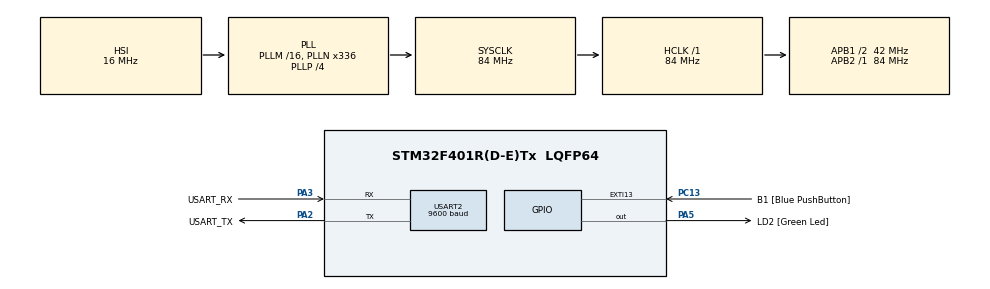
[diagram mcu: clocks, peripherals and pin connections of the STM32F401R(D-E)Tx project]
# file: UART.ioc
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Mcu.Family=STM32F4
Mcu.Name=STM32F401R(D-E)Tx
Mcu.Package=LQFP64
NVIC.PriorityGroup=NVIC_PRIORITYGROUP_4
NVIC.USART2_IRQn=true\:0\:0\:false\:false\:true\:true\:true\:true
PA13.GPIO_Label=TMS
PA13.Mode=Trace_Asynchronous_SW
PA13.Signal=SYS_JTMS-SWDIO
PA14.GPIO_Label=TCK
PA14.Mode=Trace_Asynchronous_SW
PA14.Signal=SYS_JTCK-SWCLK
PA2.GPIO_Label=USART_TX
PA2.GPIO_Mode=GPIO_MODE_AF_PP
PA2.GPIO_PuPd=GPIO_NOPULL
PA2.GPIO_Speed=GPIO_SPEED_FREQ_LOW
PA2.Mode=Asynchronous
PA2.Signal=USART2_TX
PA3.GPIO_Label=USART_RX
PA3.GPIO_Mode=GPIO_MODE_AF_PP
PA3.GPIO_PuPd=GPIO_NOPULL
PA3.GPIO_Speed=GPIO_SPEED_FREQ_LOW
PA3.Mode=Asynchronous
PA3.Signal=USART2_RX
PA5.GPIO_Label=LD2 [Green Led]
PA5.GPIO_Mode=GPIO_MODE_OUTPUT_PP
PA5.GPIO_PuPd=GPIO_NOPULL
PA5.GPIO_Speed=GPIO_SPEED_FREQ_LOW
PA5.Signal=GPIO_Output
PB3.GPIO_Label=SWO
PB3.Mode=Trace_Asynchronous_SW
PB3.Signal=SYS_JTDO-SWO
PC13-ANTI_TAMP.GPIO_Label=B1 [Blue PushButton]
PC13-ANTI_TAMP.GPIO_ModeDefaultEXTI=GPIO_MODE_IT_FALLING
PC13-ANTI_TAMP.GPIO_PuPd=GPIO_NOPULL
PC13-ANTI_TAMP.Signal=GPXTI13
PC14-OSC32_IN.Mode=LSE-External-Oscillator
PC14-OSC32_IN.Signal=RCC_OSC32_IN
PC15-OSC32_OUT.Mode=LSE-External-Oscillator
PC15-OSC32_OUT.Signal=RCC_OSC32_OUT
PH0\ -\ OSC_IN.Mode=HSE-External-Clock-Source
PH0\ -\ OSC_IN.Signal=RCC_OSC_IN
PH1\ -\ OSC_OUT.Mode=HSE-External-Clock-Source
PH1\ -\ OSC_OUT.Signal=RCC_OSC_OUT
ProjectManager.HeapSize=0x200
ProjectManager.StackSize=0x400
ProjectManager.TargetToolchain=STM32CubeIDE
RCC.48MHZClocksFreq_Value=48000000
RCC.AHBFreq_Value=84000000
RCC.APB1CLKDivider=RCC_HCLK_DIV2
RCC.APB1Freq_Value=42000000
RCC.APB1TimFreq_Value=84000000
RCC.APB2Freq_Value=84000000
RCC.APB2TimFreq_Value=84000000
RCC.CortexFreq_Value=84000000
RCC.HCLKFreq_Value=84000000
RCC.HSE_VALUE=8000000
RCC.HSI_VALUE=16000000
RCC.PLLN=336
RCC.PLLP=RCC_PLLP_DIV4
RCC.PLLQ=7
RCC.SYSCLKFreq_VALUE=84000000
RCC.SYSCLKSource=RCC_SYSCLKSOURCE_PLLCLK
RCC.VCOOutputFreq_Value=336000000
USART2.BaudRate=9600
USART2.VirtualMode=VM_ASYNC
board=NUCLEO-F401RE

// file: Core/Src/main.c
/* USER CODE BEGIN Header */
/**
  ******************************************************************************
  * @file           : main.c
  * @brief          : Main program body
  ******************************************************************************
  * @attention
  *
  * Copyright (c) 2026 STMicroelectronics.
  * All rights reserved.
  *
  * This software is licensed under terms that can be found in the LICENSE file
  * in the root directory of this software component.
  * If no LICENSE file comes with this software, it is provided AS-IS.
  *
  ******************************************************************************
  */
/* USER CODE END Header */
#include "main.h"
#include <string.h>

UART_HandleTypeDef huart2;

/* USER CODE BEGIN PV */
uint8_t tx_buffer[27]="Bem vindo MoobTech\n\r";
uint8_t rx_indx;
uint8_t rx_data[2];
uint8_t rx_buffer[100];
uint8_t transfer_cplt;
/* USER CODE END PV */

void SystemClock_Config(void);
static void MX_GPIO_Init(void);
static void MX_USART2_UART_Init(void);

int main(void)
{

  /* MCU Configuration--------------------------------------------------------*/

  /* Reset of all peripherals, Initializes the Flash interface and the Systick. */
  HAL_Init();

  /* Configure the system clock */
  SystemClock_Config();

  /* Initialize all configured peripherals */
  MX_GPIO_Init();
  MX_USART2_UART_Init();
  /* USER CODE BEGIN 2 */
  HAL_UART_Receive_IT(&huart2, rx_data, 1);
  /* USER CODE END 2 */

  /* Infinite loop */
  while (1)
  {

    /* USER CODE BEGIN 3 */

	  //&huart2= A huart selecionada no cubeMX
	  //tx_buffer = a mensagem a ser enviada
	  //27 = tamanho declarado la em cima na variavel tx_buffer
	  //10 = tempo de espera no caso 10 milisegundos
	  //HAL_UART_Transmit(&huart2, tx_buffer, 27, 10);
	  //HAL_Delay(1000);

  }
  /* USER CODE END 3 */
}

void SystemClock_Config(void)
{
  RCC_OscInitTypeDef RCC_OscInitStruct = {0};
  RCC_ClkInitTypeDef RCC_ClkInitStruct = {0};

  /** Configure the main internal regulator output voltage
  */
  __HAL_RCC_PWR_CLK_ENABLE();
  __HAL_PWR_VOLTAGESCALING_CONFIG(PWR_REGULATOR_VOLTAGE_SCALE2);

  /** Initializes the RCC Oscillators according to the specified parameters
  * in the RCC_OscInitTypeDef structure.
  */
  RCC_OscInitStruct.OscillatorType = RCC_OSCILLATORTYPE_HSI;
  RCC_OscInitStruct.HSIState = RCC_HSI_ON;
  RCC_OscInitStruct.HSICalibrationValue = RCC_HSICALIBRATION_DEFAULT;
  RCC_OscInitStruct.PLL.PLLState = RCC_PLL_ON;
  RCC_OscInitStruct.PLL.PLLSource = RCC_PLLSOURCE_HSI;
  RCC_OscInitStruct.PLL.PLLM = 16;
  RCC_OscInitStruct.PLL.PLLN = 336;
  RCC_OscInitStruct.PLL.PLLP = RCC_PLLP_DIV4;
  RCC_OscInitStruct.PLL.PLLQ = 7;
  if (HAL_RCC_OscConfig(&RCC_OscInitStruct) != HAL_OK)
  {
    Error_Handler();
  }

  /** Initializes the CPU, AHB and APB buses clocks
  */
  RCC_ClkInitStruct.ClockType = RCC_CLOCKTYPE_HCLK|RCC_CLOCKTYPE_SYSCLK
                              |RCC_CLOCKTYPE_PCLK1|RCC_CLOCKTYPE_PCLK2;
  RCC_ClkInitStruct.SYSCLKSource = RCC_SYSCLKSOURCE_PLLCLK;
  RCC_ClkInitStruct.AHBCLKDivider = RCC_SYSCLK_DIV1;
  RCC_ClkInitStruct.APB1CLKDivider = RCC_HCLK_DIV2;
  RCC_ClkInitStruct.APB2CLKDivider = RCC_HCLK_DIV1;

  if (HAL_RCC_ClockConfig(&RCC_ClkInitStruct, FLASH_LATENCY_2) != HAL_OK)
  {
    Error_Handler();
  }
}

static void MX_USART2_UART_Init(void)
{

  huart2.Instance = USART2;
  huart2.Init.BaudRate = 9600;
  huart2.Init.WordLength = UART_WORDLENGTH_8B;
  huart2.Init.StopBits = UART_STOPBITS_1;
  huart2.Init.Parity = UART_PARITY_NONE;
  huart2.Init.Mode = UART_MODE_TX_RX;
  huart2.Init.HwFlowCtl = UART_HWCONTROL_NONE;
  huart2.Init.OverSampling = UART_OVERSAMPLING_16;
  if (HAL_UART_Init(&huart2) != HAL_OK)
  {
    Error_Handler();
  }

}

static void MX_GPIO_Init(void)
{
  GPIO_InitTypeDef GPIO_InitStruct = {0};

  /* GPIO Ports Clock Enable */
  __HAL_RCC_GPIOC_CLK_ENABLE();
  __HAL_RCC_GPIOH_CLK_ENABLE();
  __HAL_RCC_GPIOA_CLK_ENABLE();
  __HAL_RCC_GPIOB_CLK_ENABLE();

  /*Configure GPIO pin Output Level */
  HAL_GPIO_WritePin(LD2_GPIO_Port, LD2_Pin, GPIO_PIN_RESET);

  /*Configure GPIO pin : B1_Pin */
  GPIO_InitStruct.Pin = B1_Pin;
  GPIO_InitStruct.Mode = GPIO_MODE_IT_FALLING;
  GPIO_InitStruct.Pull = GPIO_NOPULL;
  HAL_GPIO_Init(B1_GPIO_Port, &GPIO_InitStruct);

  /*Configure GPIO pin : LD2_Pin */
  GPIO_InitStruct.Pin = LD2_Pin;
  GPIO_InitStruct.Mode = GPIO_MODE_OUTPUT_PP;
  GPIO_InitStruct.Pull = GPIO_NOPULL;
  GPIO_InitStruct.Speed = GPIO_SPEED_FREQ_LOW;
  HAL_GPIO_Init(LD2_GPIO_Port, &GPIO_InitStruct);

}

/* USER CODE BEGIN 4 */

//aqui foi programado por mim
void HAL_UART_RxCpltCallback(UART_HandleTypeDef *huart)
{
  /* Prevent unused argument(s) compilation warning */
  UNUSED(huart);
  /* NOTE: This function should not be modified, when the callback is needed,
           the HAL_UART_TxCpltCallback could be implemented in the user file
   */

  //testa se esta funcionando envia e recebe no terminal
  //HAL_UART_Transmit(&huart2, rx_data, 7, 20);

  uint8_t i;
  if(huart->Instance == USART2)
  {
      if(rx_indx == 0){
          for(i=0; i<100; i++)
              rx_buffer[i] = 0;
          HAL_GPIO_WritePin(GPIOA, GPIO_PIN_5, GPIO_PIN_RESET);
      }

      if(rx_data[0] != 13){
          rx_buffer[rx_indx++] = rx_data[0];
      }else{

          rx_indx = 0;

          transfer_cplt = 1;

          HAL_UART_Transmit(&huart2, "\n\r", 2, 100);

          if (!strcmp(rx_buffer, "ON"))
          {
        	  HAL_GPIO_WritePin(GPIOA, GPIO_PIN_5, GPIO_PIN_SET);
		  }

      }

      HAL_UART_Receive_IT(&huart2, rx_data, 1);

      HAL_UART_Transmit(&huart2, rx_data, strlen(rx_data), 100);
  }
}

/* USER CODE END 4 */

void Error_Handler(void)
{
  __disable_irq();
  while (1)
  {
  }
}
